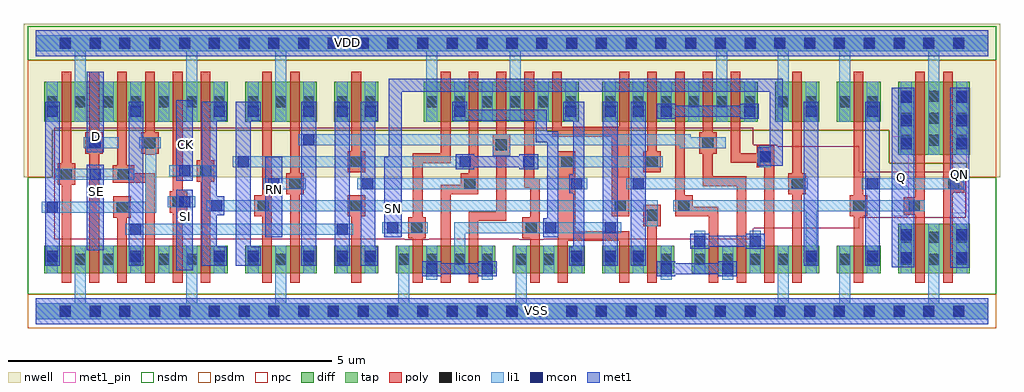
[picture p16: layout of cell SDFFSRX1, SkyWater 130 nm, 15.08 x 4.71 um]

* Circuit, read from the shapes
.subckt SDFFSRX1 CK D Q QN RN SE SI SN VDD VSS
XM1 VSS SE n1 VSS sky130_fd_pr__nfet_01v8 w=0.425 l=0.15
XM2 n2 D VSS VSS sky130_fd_pr__nfet_01v8 w=0.425 l=0.15
XM3 n3 n1 n2 VSS sky130_fd_pr__nfet_01v8 w=0.425 l=0.15
XM4 n4 SE n3 VSS sky130_fd_pr__nfet_01v8 w=0.425 l=0.15
XM5 VSS SI n4 VSS sky130_fd_pr__nfet_01v8 w=0.425 l=0.15
XM6 n5 CK VSS VSS sky130_fd_pr__nfet_01v8 w=0.425 l=0.15
XM7 VSS n5 n6 VSS sky130_fd_pr__nfet_01v8 w=0.425 l=0.15
XM8 n7 RN VSS VSS sky130_fd_pr__nfet_01v8 w=0.425 l=0.15
XM9 n8 n5 n3 VSS sky130_fd_pr__nfet_01v8 w=0.425 l=0.15
XM10 n9 SN VSS VSS sky130_fd_pr__nfet_01v8 w=0.425 l=0.15
XM11 n10 n8 n9 VSS sky130_fd_pr__nfet_01v8 w=0.425 l=0.15
XM12 n9 n7 n10 VSS sky130_fd_pr__nfet_01v8 w=0.425 l=0.15
XM13 n11 n10 VSS VSS sky130_fd_pr__nfet_01v8 w=0.425 l=0.15
XM14 n8 n6 n11 VSS sky130_fd_pr__nfet_01v8 w=0.425 l=0.15
XM15 n12 n6 n10 VSS sky130_fd_pr__nfet_01v8 w=0.425 l=0.15
XM16 n13 n5 n12 VSS sky130_fd_pr__nfet_01v8 w=0.425 l=0.15
XM17 n13 n14 n15 VSS sky130_fd_pr__nfet_01v8 w=0.425 l=0.15
XM18 n15 n7 n13 VSS sky130_fd_pr__nfet_01v8 w=0.425 l=0.15
XM19 VSS SN n15 VSS sky130_fd_pr__nfet_01v8 w=0.425 l=0.15
XM20 n14 n12 VSS VSS sky130_fd_pr__nfet_01v8 w=0.425 l=0.15
XM21 n16 n14 VSS VSS sky130_fd_pr__nfet_01v8 w=0.425 l=0.15
XM22 VSS n14 Q VSS sky130_fd_pr__nfet_01v8 w=0.76 l=0.15
XM23 QN n16 VSS VSS sky130_fd_pr__nfet_01v8 w=0.76 l=0.15
XM24 VDD SE n1 VDD sky130_fd_pr__pfet_01v8 w=0.625 l=0.15
XM25 n17 D VDD VDD sky130_fd_pr__pfet_01v8 w=0.625 l=0.15
XM26 n3 SE n17 VDD sky130_fd_pr__pfet_01v8 w=0.625 l=0.15
XM27 n18 n1 n3 VDD sky130_fd_pr__pfet_01v8 w=0.625 l=0.15
XM28 VDD SI n18 VDD sky130_fd_pr__pfet_01v8 w=0.625 l=0.15
XM29 n5 CK VDD VDD sky130_fd_pr__pfet_01v8 w=0.625 l=0.15
XM30 VDD n5 n6 VDD sky130_fd_pr__pfet_01v8 w=0.625 l=0.15
XM31 n7 RN VDD VDD sky130_fd_pr__pfet_01v8 w=0.625 l=0.15
XM32 n8 n6 n3 VDD sky130_fd_pr__pfet_01v8 w=0.625 l=0.15
XM33 n10 SN VDD VDD sky130_fd_pr__pfet_01v8 w=0.625 l=0.15
XM34 n19 n8 n10 VDD sky130_fd_pr__pfet_01v8 w=0.625 l=0.15
XM35 VDD n7 n19 VDD sky130_fd_pr__pfet_01v8 w=0.625 l=0.15
XM36 n20 n10 VDD VDD sky130_fd_pr__pfet_01v8 w=0.625 l=0.15
XM37 n8 n5 n20 VDD sky130_fd_pr__pfet_01v8 w=0.625 l=0.15
XM38 n12 n5 n10 VDD sky130_fd_pr__pfet_01v8 w=0.625 l=0.15
XM39 n21 n6 n12 VDD sky130_fd_pr__pfet_01v8 w=0.625 l=0.15
XM40 n22 n14 n21 VDD sky130_fd_pr__pfet_01v8 w=0.625 l=0.15
XM41 VDD n7 n22 VDD sky130_fd_pr__pfet_01v8 w=0.625 l=0.15
XM42 n21 SN VDD VDD sky130_fd_pr__pfet_01v8 w=0.625 l=0.15
XM43 n14 n12 VDD VDD sky130_fd_pr__pfet_01v8 w=0.625 l=0.15
XM44 n16 n14 VDD VDD sky130_fd_pr__pfet_01v8 w=0.625 l=0.15
XM45 VDD n14 Q VDD sky130_fd_pr__pfet_01v8 w=1.13 l=0.15
XM46 QN n16 VDD VDD sky130_fd_pr__pfet_01v8 w=1.13 l=0.15
.ends

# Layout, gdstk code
from math import pi, radians
import gdstk
lib = gdstk.Library(unit=1e-6, precision=1e-09)
def R(c, l, rs):  # rectangles x0, y0, x1, y1
    for r in rs: c.add(gdstk.rectangle(r[:2], r[2:], *l))
def A(c, l, x, y, w, h, nx, ny, dx, dy):  # array of equal rectangles
    R(c, l, [(x+i*dx, y+j*dy, x+i*dx+w, y+j*dy+h) for i in range(nx) for j in range(ny)])
def P(c, l, *ps):  # polygons
    for p in ps: c.add(gdstk.Polygon(p, *l))
nwell = (64, 20)
diff = (65, 20)
tap = (65, 44)
poly = (66, 20)
licon = (66, 44)
li1 = (67, 20)
mcon = (67, 44)
met1_pin = (68, 16)
met1 = (68, 20)
nsdm = (93, 44)
psdm = (94, 20)
npc = (95, 20)

pyl1con_c_cdns_758728262 = lib.new_cell('PYL1CON_C_CDNS_758728262102')
R(pyl1con_c_cdns_758728262, poly, [(-0.135,-0.165,0.135,0.165)])
R(pyl1con_c_cdns_758728262, licon, [(-0.085,-0.085,0.085,0.085)])
R(pyl1con_c_cdns_758728262, npc, [(-0.185,-0.185,0.185,0.185)])

l1m1_c_cdns_758728262101 = lib.new_cell('L1M1_C_CDNS_7587282621012')
R(l1m1_c_cdns_758728262101, li1, [(-0.085,-0.525,0.085,0.525)])
A(l1m1_c_cdns_758728262101, mcon, -0.085, -0.445, 0.17, 0.17, 1, 3, 0, 0.36)
R(l1m1_c_cdns_758728262101, met1, [(-0.115,-0.505,0.115,0.505)])

c_l1m1_c_cdns_758728262101 = lib.new_cell('L1M1_C_CDNS_758728262101')
R(c_l1m1_c_cdns_758728262101, li1, [(-0.085,-0.165,0.085,0.165)])
R(c_l1m1_c_cdns_758728262101, mcon, [(-0.085,-0.085,0.085,0.085)])
R(c_l1m1_c_cdns_758728262101, met1, [(-0.115,-0.145,0.115,0.145)])

l1m1_c_cdns_758728262104 = lib.new_cell('L1M1_C_CDNS_758728262104')
R(l1m1_c_cdns_758728262104, li1, [(-0.085,-0.345,0.085,0.345)])
R(l1m1_c_cdns_758728262104, mcon, [(-0.085,-0.265,0.085,-0.095), (-0.085,0.095,0.085,0.265)])
R(l1m1_c_cdns_758728262104, met1, [(-0.115,-0.325,0.115,0.325)])

l1m1_c_cdns_758728262100 = lib.new_cell('L1M1_C_CDNS_758728262100')
R(l1m1_c_cdns_758728262100, li1, [(-0.165,-0.085,0.165,0.085)])
R(l1m1_c_cdns_758728262100, mcon, [(-0.085,-0.085,0.085,0.085)])
R(l1m1_c_cdns_758728262100, met1, [(-0.115,-0.145,0.115,0.145)])

l1m1_c_cdns_758728262106 = lib.new_cell('L1M1_C_CDNS_758728262106')
R(l1m1_c_cdns_758728262106, li1, [(-0.085,-0.085,0.085,0.085)])
R(l1m1_c_cdns_758728262106, mcon, [(-0.085,-0.085,0.085,0.085)])
R(l1m1_c_cdns_758728262106, met1, [(-0.115,-0.145,0.115,0.145)])

l1m1_c_cdns_758728262103 = lib.new_cell('L1M1_C_CDNS_758728262103')
R(l1m1_c_cdns_758728262103, li1, [(-0.085,-0.165,0.085,0.165)])
R(l1m1_c_cdns_758728262103, mcon, [(-0.085,-0.085,0.085,0.085)])
R(l1m1_c_cdns_758728262103, met1, [(-0.145,-0.115,0.145,0.115)])

l1m1_c_cdns_758728262109 = lib.new_cell('L1M1_C_CDNS_758728262109')
R(l1m1_c_cdns_758728262109, li1, [(-0.085,-0.085,0.085,0.085)])
R(l1m1_c_cdns_758728262109, mcon, [(-0.085,-0.085,0.085,0.085)])
R(l1m1_c_cdns_758728262109, met1, [(-0.145,-0.115,0.145,0.115)])

polyconn_cdns_7587282621 = lib.new_cell('polyConn_CDNS_758728262101')
R(polyconn_cdns_7587282621, poly, [(-0.135,-0.165,0.135,0.165)])
R(polyconn_cdns_7587282621, licon, [(-0.085,-0.085,0.085,0.085)])
R(polyconn_cdns_7587282621, li1, [(-0.085,-0.165,0.085,0.165)])
R(polyconn_cdns_7587282621, mcon, [(-0.085,-0.085,0.085,0.085)])
R(polyconn_cdns_7587282621, met1, [(-0.115,-0.145,0.115,0.145)])
R(polyconn_cdns_7587282621, npc, [(-0.185,-0.185,0.185,0.185)])

licondiff_c_cdns_7587282 = lib.new_cell('LICONDIFF_C_CDNS_7587282621010')
R(licondiff_c_cdns_7587282, diff, [(-0.125,-0.145,0.125,0.145)])
R(licondiff_c_cdns_7587282, licon, [(-0.085,-0.085,0.085,0.085), (-0.085,-0.085,0.085,0.085)])

sdffsrx1 = lib.new_cell('SDFFSRX1')
R(sdffsrx1, nwell, [(-0.18,2.07,14.9,4.445)])
R(sdffsrx1, diff, [(0.135,0.59,2.965,1.015), (3.235,0.59,4.345,1.015), (4.615,0.59,5.295,1.015), (5.565,0.59,7.105,1.015), (7.375,0.59,8.485,1.015), (8.755,0.59,9.865,1.015), (10.135,0.59,12.105,1.015), (12.375,0.59,13.055,1.015), (13.325,0.59,14.435,1.35), (13.325,2.42,14.435,3.55), (0.135,2.925,2.965,3.55), (3.235,2.925,4.345,3.55), (4.615,2.925,5.295,3.55), (5.995,2.925,8.395,3.55), (8.755,2.925,11.155,3.55), (11.425,2.925,12.105,3.55), (12.375,2.925,13.055,3.55)])
A(sdffsrx1, poly, 11.69, 0.44, 0.15, 3.26, 3, 1, 0.95, 0)
R(sdffsrx1, poly, [(0.4,0.44,0.55,3.7), (0.83,0.44,0.98,3.7), (1.26,0.44,1.41,1.705), (2.12,0.44,2.27,3.7), (2.55,0.44,2.7,3.7), (3.5,0.44,3.65,3.7), (3.93,0.44,4.08,3.7), (4.88,0.44,5.03,1.795), (9.45,0.44,9.6,1.345), (14.02,0.44,14.17,3.7), (9.45,2.145,9.6,3.7), (4.88,2.16,5.03,3.7), (1.69,2.415,1.84,3.7)])
P(sdffsrx1, poly, [(1.84,2.135),(1.41,2.135),(1.41,3.7),(1.26,3.7),(1.26,1.985),(1.69,1.985),(1.69,0.44),(1.84,0.44)],
  [(6.41,3.7),(6.26,3.7),(6.26,2.44),(5.83,2.44),(5.83,0.44),(5.98,0.44),(5.98,2.29),(6.41,2.29)],
  [(6.84,3.7),(6.69,3.7),(6.69,1.955),(6.26,1.955),(6.26,0.44),(6.41,0.44),(6.41,1.805),(6.84,1.805)],
  [(7.27,3.7),(7.12,3.7),(7.12,1.545),(6.69,1.545),(6.69,0.44),(6.84,0.44),(6.84,1.395),(7.27,1.395)],
  [(7.79,2.055),(7.7,2.055),(7.7,3.7),(7.55,3.7),(7.55,1.905),(7.64,1.905),(7.64,0.44),(7.79,0.44)],
  [(9.17,3.7),(9.02,3.7),(9.02,2.85),(8.13,2.85),(8.13,3.7),(7.98,3.7),(7.98,2.7),(8.9,2.7),(8.9,1.465),(9.17,1.465)],
  [(9.17,1.24),(8.34,1.24),(8.34,2.475),(8.07,2.475),(8.07,0.44),(8.22,0.44),(8.22,1.09),(9.02,1.09),(9.02,0.44),(9.17,0.44)],
  [(10.55,1.615),(10.03,1.615),(10.03,3.7),(9.88,3.7),(9.88,1.465),(10.4,1.465),(10.4,0.44),(10.55,0.44)],
  [(10.98,2.085),(10.46,2.085),(10.46,3.7),(10.31,3.7),(10.31,1.935),(10.83,1.935),(10.83,0.44),(10.98,0.44)],
  [(11.41,2.445),(10.89,2.445),(10.89,3.7),(10.74,3.7),(10.74,2.295),(11.26,2.295),(11.26,0.44),(11.41,0.44)])
A(sdffsrx1, licon, 0.375, -0.085, 0.17, 0.17, 31, 2, 0.46, 4.14)
A(sdffsrx1, licon, 0.605, 0.715, 0.17, 0.17, 3, 2, 0.86, 2.435)
A(sdffsrx1, licon, 3.275, 0.715, 0.17, 0.17, 3, 2, 0.43, 2.435)
A(sdffsrx1, licon, 5.605, 0.715, 0.17, 0.17, 4, 1, 0.43, 0)
A(sdffsrx1, licon, 8.795, 0.715, 0.17, 0.17, 3, 2, 0.43, 2.435)
A(sdffsrx1, licon, 10.175, 0.715, 0.17, 0.17, 5, 1, 0.43, 0)
A(sdffsrx1, licon, 13.365, 0.715, 0.17, 0.17, 3, 2, 0.43, 0.34)
A(sdffsrx1, licon, 13.365, 2.56, 0.17, 0.17, 3, 3, 0.43, 0.34)
A(sdffsrx1, licon, 6.465, 3.15, 0.17, 0.17, 3, 1, 0.86, 0)
R(sdffsrx1, licon, [(0.175,0.715,0.345,0.885), (2.755,0.715,2.925,0.885), (4.655,0.715,4.825,0.885), (5.085,0.715,5.255,0.885), (7.415,0.715,7.585,0.885), (8.275,0.715,8.445,0.885), (12.415,0.715,12.585,0.885), (12.845,0.715,13.015,0.885), (0.175,3.15,0.345,3.32), (2.755,3.15,2.925,3.32), (4.655,3.15,4.825,3.32), (5.085,3.15,5.255,3.32), (6.035,3.15,6.205,3.32), (10.515,3.15,10.685,3.32), (10.945,3.15,11.115,3.32), (11.465,3.15,11.635,3.32), (11.895,3.15,12.065,3.32), (12.415,3.15,12.585,3.32), (12.845,3.15,13.015,3.32)])
A(sdffsrx1, li1, 0.175, 0.59, 0.17, 0.425, 3, 1, 1.29, 0)
A(sdffsrx1, li1, 8.795, 0.59, 0.17, 0.425, 3, 1, 0.43, 0)
A(sdffsrx1, li1, 10.175, 0.59, 0.17, 0.425, 3, 1, 0.43, 0)
A(sdffsrx1, li1, 0.175, 2.925, 0.17, 0.625, 3, 1, 1.29, 0)
A(sdffsrx1, li1, 8.795, 2.925, 0.17, 0.625, 3, 1, 0.43, 0)
A(sdffsrx1, li1, 10.945, 2.925, 0.17, 0.625, 3, 1, 0.95, 0)
R(sdffsrx1, li1, [(3.275,0.59,3.445,1.015), (4.135,0.59,4.305,1.015), (4.655,0.59,4.825,1.015), (5.085,0.59,5.255,1.015), (6.035,0.59,6.205,1.015), (6.895,0.59,7.065,1.015), (8.275,0.59,8.445,1.015), (12.845,0.59,13.015,1.015), (13.365,0.59,13.535,1.35), (14.225,0.59,14.395,1.35), (2.065,2.085,2.79,2.255), (13.365,2.42,13.535,3.55), (14.225,2.42,14.395,3.55), (3.275,2.925,3.445,3.55), (4.135,2.925,4.305,3.55), (4.655,2.925,4.825,3.55), (5.085,2.925,5.255,3.55), (6.465,2.925,6.635,3.55), (8.185,2.925,8.355,3.55)])
P(sdffsrx1, li1, [(1.93,2.685),(1.6,2.685),(1.6,2.515),(1.69,2.515),(1.69,1.695),(0.26,1.695),(0.26,1.525),(1.86,1.525),(1.86,2.515),(1.93,2.515)],
  [(9.045,1.375),(6.465,1.375),(6.465,0.59),(6.635,0.59),(6.635,1.205),(9.045,1.205)],
  [(9.61,1.715),(2.675,1.715),(2.675,1.545),(9.44,1.545),(9.44,1.315),(9.61,1.315)],
  [(10.66,2.685),(10.125,2.685),(10.125,2.735),(4.22,2.735),(4.22,2.565),(7.06,2.565),(7.06,2.405),(7.33,2.405),(7.33,2.565),(9.955,2.565),(9.955,2.515),(10.66,2.515)],
  [(13.74,1.715),(9.85,1.715),(9.85,1.545),(11.895,1.545),(11.895,0.59),(12.065,0.59),(12.065,1.545),(13.74,1.545)],
  [(14.72,4.265),(0,4.265),(0,4.015),(0.605,4.015),(0.605,2.925),(0.775,2.925),(0.775,4.015),(2.325,4.015),(2.325,2.925),(2.495,2.925),(2.495,4.015),(3.705,4.015),(3.705,2.925),(3.875,2.925),(3.875,4.015),(6.035,4.015),(6.035,2.925),(6.205,2.925),(6.205,4.015),(7.325,4.015),(7.325,2.925),(7.495,2.925),(7.495,4.015),(10.515,4.015),(10.515,2.925),(10.685,2.925),(10.685,4.015),(11.465,4.015),(11.465,2.925),(11.635,2.925),(11.635,4.015),(12.415,4.015),(12.415,2.925),(12.585,2.925),(12.585,4.015),(13.795,4.015),(13.795,2.42),(13.965,2.42),(13.965,4.015),(14.72,4.015)],
  [(14.72,0.125),(13.965,0.125),(13.965,1.35),(13.795,1.35),(13.795,0.125),(12.585,0.125),(12.585,1.015),(12.415,1.015),(12.415,0.125),(11.635,0.125),(11.635,1.015),(11.465,1.015),(11.465,0.125),(7.585,0.125),(7.585,1.015),(7.415,1.015),(7.415,0.125),(5.775,0.125),(5.775,1.015),(5.605,1.015),(5.605,0.125),(3.875,0.125),(3.875,1.015),(3.705,1.015),(3.705,0.125),(2.495,0.125),(2.495,1.015),(2.325,1.015),(2.325,0.125),(0.775,0.125),(0.775,1.015),(0.605,1.015),(0.605,0.125),(0,0.125),(0,-0.125),(14.72,-0.125)])
A(sdffsrx1, mcon, 0.375, -0.085, 0.17, 0.17, 31, 2, 0.46, 4.14)
R(sdffsrx1, met1_pin, [(2.17,0.635,2.43,1.875), (0.79,0.945,1.05,2.185), (3.55,1.145,3.81,2.385), (5.39,1.145,5.65,2.385), (13.23,1.465,13.49,2.705), (14.13,1.515,14.39,2.755), (2.17,2.02,2.43,3.26), (0.79,2.46,1.05,3.7)])
R(sdffsrx1, met1, [(13.23,0.68,13.575,3.45)])
P(sdffsrx1, met1, [(11.545,3.59),(5.455,3.59),(5.455,2.385),(5.39,2.385),(5.39,1.145),(5.65,1.145),(5.65,1.15),(5.655,1.15),(5.655,3.39),(11.345,3.39),(11.345,2.245),(11.545,2.245)],
  [(14.425,3.445),(14.39,3.445),(14.39,3.45),(14.13,3.45),(14.13,0.675),(14.425,0.675)])
R(sdffsrx1, nsdm, [(-0.125,3.875,14.845,4.405)])
P(sdffsrx1, nsdm, [(14.845,2.07),(14.39,2.07),(14.39,2.29),(13.185,2.29),(13.185,2.795),(0.26,2.795),(0.26,2.07),(-0.125,2.07),(-0.125,0.265),(14.845,0.265)])
R(sdffsrx1, psdm, [(-0.125,-0.265,14.845,0.265)])
P(sdffsrx1, psdm, [(14.845,3.875),(-0.125,3.875),(-0.125,2.07),(0.26,2.07),(0.26,2.795),(13.185,2.795),(13.185,2.29),(14.39,2.29),(14.39,2.07),(14.845,2.07)])
P(sdffsrx1, npc, [(14.37,2.155),(12.725,2.155),(12.725,2.55),(11.46,2.55),(11.46,2.575),(11.09,2.575),(11.09,2.835),(0.29,2.835),(0.29,1.11),(11.09,1.11),(11.09,1.285),(12.725,1.285),(12.725,1.445),(14.37,1.445)])
sdffsrx1.add(gdstk.FlexPath([(0.31,2.12),(1.52,2.12)], 0.17, ends="flush", simple_path=True, layer=67, datatype=20))  # li1
sdffsrx1.add(gdstk.FlexPath([(1.285,2.6),(0.74,2.6)], 0.17, ends="flush", simple_path=True, layer=67, datatype=20))  # li1
sdffsrx1.add(gdstk.FlexPath([(2.3,1.69),(2.04,1.69)], 0.17, ends="flush", simple_path=True, layer=67, datatype=20))  # li1
sdffsrx1.add(gdstk.FlexPath([(3.21,2.31),(6.62,2.31)], 0.17, ends="flush", simple_path=True, layer=67, datatype=20))  # li1
sdffsrx1.add(gdstk.FlexPath([(1.12,2.925),(1.12,3.55)], 0.17, ends="flush", simple_path=True, layer=67, datatype=20))  # li1
sdffsrx1.add(gdstk.FlexPath([(1.385,1.27),(4.905,1.27)], 0.17, ends="flush", simple_path=True, layer=67, datatype=20))  # li1
sdffsrx1.add(gdstk.FlexPath([(6.98,2.925),(6.98,3.55)], 0.17, ends="flush", simple_path=True, layer=67, datatype=20))  # li1
sdffsrx1.add(gdstk.FlexPath([(7.84,2.925),(7.84,3.55)], 0.17, ends="flush", simple_path=True, layer=67, datatype=20))  # li1
sdffsrx1.add(gdstk.FlexPath([(9.125,1.97),(11.93,1.97)], 0.17, ends="flush", simple_path=True, layer=67, datatype=20))  # li1
sdffsrx1.add(gdstk.FlexPath([(1.98,2.925),(1.98,3.55)], 0.17, ends="flush", simple_path=True, layer=67, datatype=20))  # li1
sdffsrx1.add(gdstk.FlexPath([(7.625,2.31),(9.69,2.31)], 0.17, ends="flush", simple_path=True, layer=67, datatype=20))  # li1
sdffsrx1.add(gdstk.FlexPath([(5.17,1.97),(8.525,1.97)], 0.17, ends="flush", simple_path=True, layer=67, datatype=20))  # li1
sdffsrx1.add(gdstk.FlexPath([(12.765,1.97),(14.35,1.97)], 0.17, ends="flush", simple_path=True, layer=67, datatype=20))  # li1
sdffsrx1.add(gdstk.FlexPath([(10.17,2.925),(10.17,3.55)], 0.17, ends="flush", simple_path=True, layer=67, datatype=20))  # li1
sdffsrx1.add(gdstk.FlexPath([(1.12,0.59),(1.12,1.015)], 0.17, ends="flush", simple_path=True, layer=67, datatype=20))  # li1
sdffsrx1.add(gdstk.FlexPath([(1.98,0.59),(1.98,1.015)], 0.17, ends="flush", simple_path=True, layer=67, datatype=20))  # li1
sdffsrx1.add(gdstk.FlexPath([(7.93,0.59),(7.93,1.015)], 0.17, ends="flush", simple_path=True, layer=67, datatype=20))  # li1
sdffsrx1.add(gdstk.FlexPath([(4.17,1.97),(3.625,1.97)], 0.17, ends="flush", simple_path=True, layer=67, datatype=20))  # li1
sdffsrx1.add(gdstk.FlexPath([(6.055,1.29),(5.51,1.29)], 0.17, ends="flush", simple_path=True, layer=67, datatype=20))  # li1
sdffsrx1.add(gdstk.FlexPath([(7.625,2.31),(6.635,2.31)], 0.17, ends="flush", simple_path=True, layer=68, datatype=20))  # met1
sdffsrx1.add(gdstk.FlexPath([(0,0),(14.72,0)], 0.4, ends="flush", simple_path=True, layer=68, datatype=20))  # met1
sdffsrx1.add(gdstk.FlexPath([(0,4.14),(14.72,4.14)], 0.4, ends="flush", simple_path=True, layer=68, datatype=20))  # met1
sdffsrx1.add(gdstk.FlexPath([(3.68,1.145),(3.68,2.385)], 0.26, ends="flush", simple_path=True, layer=68, datatype=20))  # met1
sdffsrx1.add(gdstk.FlexPath([(2.3,2.02),(2.3,3.26)], 0.26, ends="flush", simple_path=True, layer=68, datatype=20))  # met1
sdffsrx1.add(gdstk.FlexPath([(2.3,0.635),(2.3,1.875)], 0.26, ends="flush", simple_path=True, layer=68, datatype=20))  # met1
sdffsrx1.add(gdstk.FlexPath([(2.685,0.705),(2.685,3.235)], 0.23, ends="flush", simple_path=True, layer=68, datatype=20))  # met1
sdffsrx1.add(gdstk.FlexPath([(1.55,0.705),(1.55,3.235)], 0.23, ends="flush", simple_path=True, layer=68, datatype=20))  # met1
sdffsrx1.add(gdstk.FlexPath([(4.74,0.705),(4.74,3.235)], 0.23, ends="flush", simple_path=True, layer=68, datatype=20))  # met1
sdffsrx1.add(gdstk.FlexPath([(12.93,0.705),(12.93,3.235)], 0.23, ends="flush", simple_path=True, layer=68, datatype=20))  # met1
sdffsrx1.add(gdstk.FlexPath([(11.98,0.705),(11.98,3.235)], 0.23, ends="flush", simple_path=True, layer=68, datatype=20))  # met1
sdffsrx1.add(gdstk.FlexPath([(9.31,0.705),(9.31,3.235)], 0.23, ends="flush", simple_path=True, layer=68, datatype=20))  # met1
sdffsrx1.add(gdstk.FlexPath([(8.88,0.705),(8.88,3.235)], 0.23, ends="flush", simple_path=True, layer=68, datatype=20))  # met1
sdffsrx1.add(gdstk.FlexPath([(3.21,0.705),(3.21,3.235)], 0.23, ends="flush", simple_path=True, layer=68, datatype=20))  # met1
sdffsrx1.add(gdstk.FlexPath([(4.22,0.705),(4.22,3.235)], 0.23, ends="flush", simple_path=True, layer=68, datatype=20))  # met1
sdffsrx1.add(gdstk.FlexPath([(5.135,0.705),(5.135,3.235)], 0.23, ends="flush", simple_path=True, layer=68, datatype=20))  # met1
sdffsrx1.add(gdstk.FlexPath([(8.39,0.705),(8.39,3.235)], 0.17, ends="flush", simple_path=True, layer=68, datatype=20))  # met1
sdffsrx1.add(gdstk.FlexPath([(0.26,0.705),(0.26,3.235)], 0.23, ends="flush", simple_path=True, layer=68, datatype=20))  # met1
sdffsrx1.add(gdstk.FlexPath([(9.595,0.655),(10.835,0.655)], 0.17, ends="flush", simple_path=True, layer=68, datatype=20))  # met1
sdffsrx1.add(gdstk.FlexPath([(9.595,3.09),(11.175,3.09)], 0.17, ends="flush", simple_path=True, layer=68, datatype=20))  # met1
sdffsrx1.add(gdstk.FlexPath([(10.115,1.08),(11.265,1.08)], 0.17, ends="flush", simple_path=True, layer=68, datatype=20))  # met1
sdffsrx1.add(gdstk.FlexPath([(5.975,0.655),(7.125,0.655)], 0.17, ends="flush", simple_path=True, layer=68, datatype=20))  # met1
sdffsrx1.add(gdstk.FlexPath([(0.92,2.455),(0.92,3.7)], 0.26, ends="flush", simple_path=True, layer=68, datatype=20))  # met1
sdffsrx1.add(gdstk.FlexPath([(0.92,0.945),(0.92,2.265)], 0.26, ends="flush", simple_path=True, layer=68, datatype=20))  # met1
sdffsrx1.add(gdstk.FlexPath([(7.99,1.29),(7.99,2.695),(7.81,2.695),(7.81,3.03),(6.55,3.03)], 0.17, ends=(0, 0.085), simple_path=True, layer=68, datatype=20))  # met1
sdffsrx1.add(gdstk.FlexPath([(0,4.14),(14.72,4.14)], 0.4, ends="flush", simple_path=True, layer=68, datatype=16))  # met1_pin
sdffsrx1.add(gdstk.FlexPath([(0,0),(14.72,0)], 0.4, ends="flush", simple_path=True, layer=68, datatype=16))  # met1_pin
sdffsrx1.add(gdstk.FlexPath([(0,4.14),(14.72,4.14)], 0.25, ends="flush", simple_path=True, layer=65, datatype=44))  # tap
sdffsrx1.add(gdstk.FlexPath([(0,0),(14.72,0)], 0.25, ends="flush", simple_path=True, layer=65, datatype=44))  # tap
sdffsrx1.add(gdstk.Reference(pyl1con_c_cdns_758728262, (14.185,1.97), rotation=pi/2, x_reflection=True))
sdffsrx1.add(gdstk.Reference(pyl1con_c_cdns_758728262, (5.89,1.29), x_reflection=True))
sdffsrx1.add(gdstk.Reference(pyl1con_c_cdns_758728262, (4.005,1.97), x_reflection=True))
sdffsrx1.add(gdstk.Reference(pyl1con_c_cdns_758728262, (0.905,2.6), x_reflection=True))
sdffsrx1.add(gdstk.Reference(pyl1con_c_cdns_758728262, (2.625,2.17), x_reflection=True))
sdffsrx1.add(gdstk.Reference(pyl1con_c_cdns_758728262, (2.205,1.69), x_reflection=True))
sdffsrx1.add(gdstk.Reference(pyl1con_c_cdns_758728262, (0.475,2.12)))
sdffsrx1.add(gdstk.Reference(pyl1con_c_cdns_758728262, (1.355,2.12), rotation=pi/2))
sdffsrx1.add(gdstk.Reference(pyl1con_c_cdns_758728262, (13.575,1.63), rotation=pi/2, x_reflection=True))
sdffsrx1.add(gdstk.Reference(pyl1con_c_cdns_758728262, (10.385,2.6)))
sdffsrx1.add(gdstk.Reference(pyl1con_c_cdns_758728262, (7.195,2.57)))
sdffsrx1.add(gdstk.Reference(pyl1con_c_cdns_758728262, (6.705,1.97)))
sdffsrx1.add(gdstk.Reference(pyl1con_c_cdns_758728262, (12.715,1.63), rotation=pi, x_reflection=True))
sdffsrx1.add(gdstk.Reference(pyl1con_c_cdns_758728262, (11.765,1.97), rotation=pi, x_reflection=True))
sdffsrx1.add(gdstk.Reference(pyl1con_c_cdns_758728262, (9.035,1.63), x_reflection=True))
sdffsrx1.add(gdstk.Reference(pyl1con_c_cdns_758728262, (9.525,1.48)))
sdffsrx1.add(gdstk.Reference(pyl1con_c_cdns_758728262, (3.515,1.63)))
sdffsrx1.add(gdstk.Reference(pyl1con_c_cdns_758728262, (4.955,1.63)))
sdffsrx1.add(gdstk.Reference(pyl1con_c_cdns_758728262, (9.525,2.31)))
sdffsrx1.add(gdstk.Reference(pyl1con_c_cdns_758728262, (4.955,2.31)))
sdffsrx1.add(gdstk.Reference(pyl1con_c_cdns_758728262, (8.205,2.31)))
sdffsrx1.add(gdstk.Reference(pyl1con_c_cdns_758728262, (7.655,1.29)))
sdffsrx1.add(gdstk.Reference(pyl1con_c_cdns_758728262, (10.015,1.63), rotation=pi, x_reflection=True))
sdffsrx1.add(gdstk.Reference(pyl1con_c_cdns_758728262, (1.765,2.6), x_reflection=True))
sdffsrx1.add(gdstk.Reference(pyl1con_c_cdns_758728262, (1.335,1.61)))
sdffsrx1.add(gdstk.Reference(l1m1_c_cdns_758728262101, (14.31,2.945)))
sdffsrx1.add(gdstk.Reference(l1m1_c_cdns_758728262101, (13.45,2.945)))
sdffsrx1.add(gdstk.Reference(c_l1m1_c_cdns_758728262101, (0.26,3.09)))
sdffsrx1.add(gdstk.Reference(c_l1m1_c_cdns_758728262101, (0.26,0.85)))
sdffsrx1.add(gdstk.Reference(c_l1m1_c_cdns_758728262101, (8.36,0.85)))
sdffsrx1.add(gdstk.Reference(c_l1m1_c_cdns_758728262101, (8.27,3.09)))
sdffsrx1.add(gdstk.Reference(c_l1m1_c_cdns_758728262101, (5.17,3.09)))
sdffsrx1.add(gdstk.Reference(c_l1m1_c_cdns_758728262101, (5.17,0.85)))
sdffsrx1.add(gdstk.Reference(c_l1m1_c_cdns_758728262101, (4.22,3.09)))
sdffsrx1.add(gdstk.Reference(c_l1m1_c_cdns_758728262101, (4.22,0.85)))
sdffsrx1.add(gdstk.Reference(c_l1m1_c_cdns_758728262101, (1.55,0.85)))
sdffsrx1.add(gdstk.Reference(c_l1m1_c_cdns_758728262101, (1.55,3.09)))
sdffsrx1.add(gdstk.Reference(c_l1m1_c_cdns_758728262101, (4.74,0.85)))
sdffsrx1.add(gdstk.Reference(c_l1m1_c_cdns_758728262101, (4.74,3.09)))
sdffsrx1.add(gdstk.Reference(c_l1m1_c_cdns_758728262101, (9.31,3.09)))
sdffsrx1.add(gdstk.Reference(c_l1m1_c_cdns_758728262101, (9.31,0.85)))
sdffsrx1.add(gdstk.Reference(c_l1m1_c_cdns_758728262101, (2.84,0.85)))
sdffsrx1.add(gdstk.Reference(c_l1m1_c_cdns_758728262101, (2.84,3.09)))
sdffsrx1.add(gdstk.Reference(c_l1m1_c_cdns_758728262101, (3.36,0.85)))
sdffsrx1.add(gdstk.Reference(c_l1m1_c_cdns_758728262101, (3.36,3.09)))
sdffsrx1.add(gdstk.Reference(c_l1m1_c_cdns_758728262101, (8.88,0.85)))
sdffsrx1.add(gdstk.Reference(c_l1m1_c_cdns_758728262101, (6.55,3.09)))
sdffsrx1.add(gdstk.Reference(c_l1m1_c_cdns_758728262101, (11.98,3.09), rotation=pi, x_reflection=True))
sdffsrx1.add(gdstk.Reference(c_l1m1_c_cdns_758728262101, (11.98,0.85), rotation=pi, x_reflection=True))
sdffsrx1.add(gdstk.Reference(c_l1m1_c_cdns_758728262101, (12.93,3.09)))
sdffsrx1.add(gdstk.Reference(c_l1m1_c_cdns_758728262101, (12.93,0.85)))
sdffsrx1.add(gdstk.Reference(c_l1m1_c_cdns_758728262101, (8.88,3.09)))
sdffsrx1.add(gdstk.Reference(l1m1_c_cdns_758728262104, (14.31,1.005)))
sdffsrx1.add(gdstk.Reference(l1m1_c_cdns_758728262104, (13.45,1.005)))
sdffsrx1.add(gdstk.Reference(l1m1_c_cdns_758728262100, (5.52,1.29), x_reflection=True))
sdffsrx1.add(gdstk.Reference(l1m1_c_cdns_758728262100, (3.68,1.97), x_reflection=True))
sdffsrx1.add(gdstk.Reference(l1m1_c_cdns_758728262100, (0.92,2.12), x_reflection=True))
sdffsrx1.add(gdstk.Reference(l1m1_c_cdns_758728262100, (0.92,2.6), x_reflection=True))
sdffsrx1.add(gdstk.Reference(l1m1_c_cdns_758728262100, (2.3,2.17), x_reflection=True))
sdffsrx1.add(gdstk.Reference(l1m1_c_cdns_758728262100, (12.93,1.97)))
sdffsrx1.add(gdstk.Reference(l1m1_c_cdns_758728262100, (0.26,1.61)))
sdffsrx1.add(gdstk.Reference(l1m1_c_cdns_758728262100, (4.22,2.65)))
sdffsrx1.add(gdstk.Reference(l1m1_c_cdns_758728262100, (8.36,1.97)))
sdffsrx1.add(gdstk.Reference(l1m1_c_cdns_758728262100, (5.135,1.97)))
sdffsrx1.add(gdstk.Reference(l1m1_c_cdns_758728262100, (1.55,1.27)))
sdffsrx1.add(gdstk.Reference(l1m1_c_cdns_758728262100, (4.74,1.27)))
sdffsrx1.add(gdstk.Reference(l1m1_c_cdns_758728262100, (2.8,1.63)))
sdffsrx1.add(gdstk.Reference(l1m1_c_cdns_758728262100, (3.21,2.31)))
sdffsrx1.add(gdstk.Reference(l1m1_c_cdns_758728262100, (8.88,1.29)))
sdffsrx1.add(gdstk.Reference(l1m1_c_cdns_758728262100, (9.31,1.97)))
sdffsrx1.add(gdstk.Reference(l1m1_c_cdns_758728262100, (2.3,1.69), x_reflection=True))
sdffsrx1.add(gdstk.Reference(l1m1_c_cdns_758728262106, (7.96,1.29)))
sdffsrx1.add(gdstk.Reference(l1m1_c_cdns_758728262103, (6.12,0.655)))
sdffsrx1.add(gdstk.Reference(l1m1_c_cdns_758728262103, (11.12,1.08)))
sdffsrx1.add(gdstk.Reference(l1m1_c_cdns_758728262103, (10.26,1.08)))
sdffsrx1.add(gdstk.Reference(l1m1_c_cdns_758728262103, (10.69,0.655)))
sdffsrx1.add(gdstk.Reference(l1m1_c_cdns_758728262103, (9.74,0.655)))
sdffsrx1.add(gdstk.Reference(l1m1_c_cdns_758728262103, (11.03,3.09)))
sdffsrx1.add(gdstk.Reference(l1m1_c_cdns_758728262103, (9.74,3.09)))
sdffsrx1.add(gdstk.Reference(l1m1_c_cdns_758728262103, (6.98,0.655)))
sdffsrx1.add(gdstk.Reference(l1m1_c_cdns_758728262109, (7.62,2.31)))
sdffsrx1.add(gdstk.Reference(l1m1_c_cdns_758728262109, (6.635,2.31)))
sdffsrx1.add(gdstk.Reference(polyconn_cdns_7587282621, (11.275,2.39)))
sdffsrx1.add(gdstk.Reference(licondiff_c_cdns_7587282, (7.93,0.8)))
sdffsrx1.add(gdstk.Reference(licondiff_c_cdns_7587282, (1.98,0.8)))
sdffsrx1.add(gdstk.Reference(licondiff_c_cdns_7587282, (1.12,0.8)))
sdffsrx1.add(gdstk.Reference(licondiff_c_cdns_7587282, (10.17,3.235)))
sdffsrx1.add(gdstk.Reference(licondiff_c_cdns_7587282, (7.84,3.235)))
sdffsrx1.add(gdstk.Reference(licondiff_c_cdns_7587282, (6.98,3.235)))
sdffsrx1.add(gdstk.Reference(licondiff_c_cdns_7587282, (1.98,3.235)))
sdffsrx1.add(gdstk.Reference(licondiff_c_cdns_7587282, (1.12,3.235)))
sdffsrx1.add(gdstk.Label('VDD', (4.825,4.145), layer=68, texttype=5))
sdffsrx1.add(gdstk.Label('QN', (14.275,2.11), layer=68, texttype=5))
sdffsrx1.add(gdstk.Label('Q', (13.375,2.06), layer=68, texttype=5))
sdffsrx1.add(gdstk.Label('RN', (3.695,1.88), layer=68, texttype=5))
sdffsrx1.add(gdstk.Label('CK', (2.315,2.575), layer=68, texttype=5))
sdffsrx1.add(gdstk.Label('SI', (2.315,1.465), layer=68, texttype=5))
sdffsrx1.add(gdstk.Label('SN', (5.535,1.585), layer=68, texttype=5))
sdffsrx1.add(gdstk.Label('SE', (0.935,1.85), layer=68, texttype=5))
sdffsrx1.add(gdstk.Label('D', (0.935,2.705), layer=68, texttype=5))
sdffsrx1.add(gdstk.Label('VSS', (7.735,0.005), layer=68, texttype=5))

lib.write_gds('SDFFSRX1.gds')
